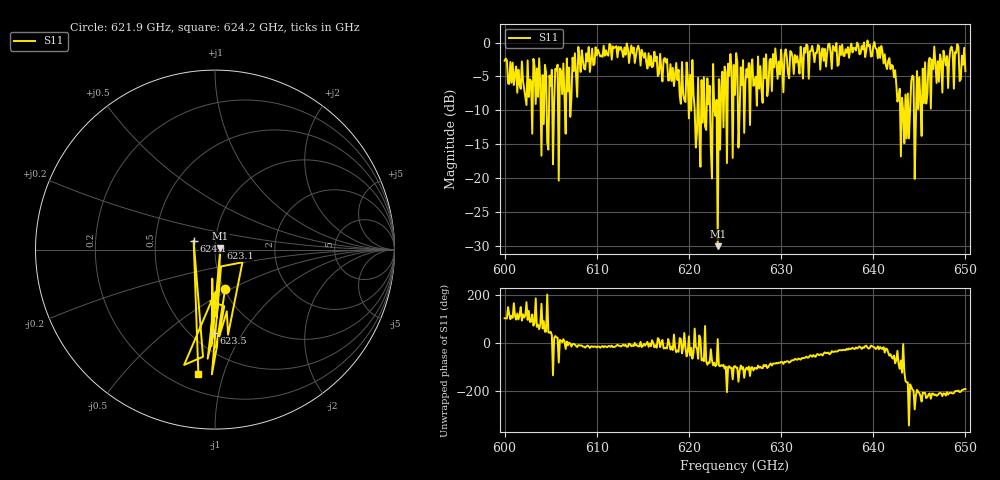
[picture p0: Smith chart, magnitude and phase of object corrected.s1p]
!Created with skrf (http://scikit-rf.org).
# GHz S MA R 50.0
!freq magS11 angS11
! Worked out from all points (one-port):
!   401 points, 600 GHz to 650 GHz, reference 50 ohm
!   lowest |S11| = -30.0 dB at 623.1 GHz (marker M1), VSWR 1.07, Z = 53.1 + j1 ohm
!   |S11| at or under -10 dB: 604.5678 GHz to 604.8163 GHz (248.6 MHz wide, 0.0411 % of centre); 620.6294 GHz to 620.9243 GHz (295 MHz wide, 0.0475 % of centre); 621.0756 GHz to 621.3313 GHz (255.7 MHz wide, 0.0412 % of centre) (the widest 3 of 30)
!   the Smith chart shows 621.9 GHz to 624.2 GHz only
!   S11 on the Smith chart (normalised r, x): 621.9 GHz: 1.01, -0.47; 623.1 GHz: 1.06, +0.02; 623.5 GHz: 0.63, -0.76; 624.1 GHz: 0.78, +0.08; 624.2 GHz: 0.31, -0.83
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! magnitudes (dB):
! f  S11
! 600 GHz  -2.7
! 602.4 GHz  -9.2
! 603.5 GHz  -3.8
! 604.5 GHz  -4.4
! 606.1 GHz  -4.2
! 606.2 GHz  -7.6
! 606.9 GHz  -7.2
! 608.2 GHz  -4.3
! 612.5 GHz  -1.1
! 618.8 GHz  -5.5
! 620.4 GHz  -2.6
! 621 GHz  -5.2
! 621.9 GHz  -12.9
! 623.1 GHz  -30.0
! 623.5 GHz  -6.6
! 624.1 GHz  -17.8
! 624.2 GHz  -3.1
! 625 GHz  -7.7
! 631.2 GHz  -2.1
! 637.5 GHz  -0.9
! 640.9 GHz  -0.5
! 642.2 GHz  -5.1
! 643.1 GHz  -8.2
! 643.8 GHz  -7.5
! 644.1 GHz  -5.7
! 644.8 GHz  -4.2
! 646.6 GHz  -0.6
! 650 GHz  -4.2
